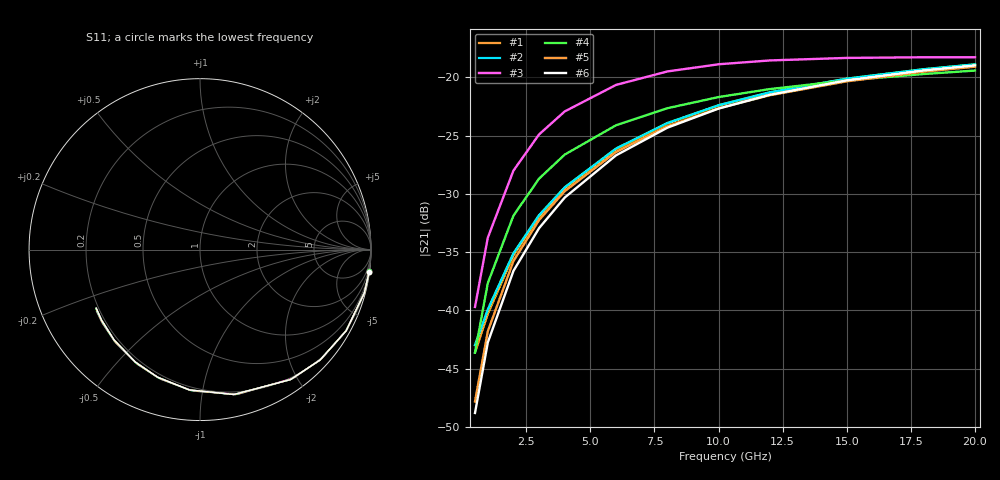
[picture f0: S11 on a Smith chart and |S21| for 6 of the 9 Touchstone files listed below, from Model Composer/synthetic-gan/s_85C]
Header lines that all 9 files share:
# Hz S RI R 50
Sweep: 500 MHz to 20 GHz
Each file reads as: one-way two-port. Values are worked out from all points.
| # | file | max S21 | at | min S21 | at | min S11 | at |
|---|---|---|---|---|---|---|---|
| 1 | Vgs-1.6_Vds10_Id0.004011.s2p | -18.90 dB | 20 GHz | -43.6 dB | 500 MHz | -3.1 dB | 20 GHz |
| 2 | Vgs-1.6_Vds15_Id0.004474.s2p | -18.89 dB | 20 GHz | -43.0 dB | 500 MHz | -3.1 dB | 20 GHz |
| 3 | Vgs-2_Vds0.5_Id0.000005.s2p | -18.27 dB | 18 GHz | -39.7 dB | 500 MHz | -3.0 dB | 20 GHz |
| 4 | Vgs-2_Vds1_Id0.000002.s2p | -19.42 dB | 20 GHz | -43.6 dB | 500 MHz | -3.1 dB | 20 GHz |
| 5 | Vgs-2_Vds2_Id0.000000.s2p | -19.09 dB | 20 GHz | -47.8 dB | 500 MHz | -3.1 dB | 20 GHz |
| 6 | Vgs-2_Vds4_Id0.000000.s2p | -18.97 dB | 20 GHz | -48.8 dB | 500 MHz | -3.1 dB | 20 GHz |
| 7 | Vgs-2_Vds7_Id0.000000.s2p | -18.97 dB | 20 GHz | -48.8 dB | 500 MHz | -3.1 dB | 20 GHz |
| 8 | Vgs-2_Vds10_Id0.000000.s2p | -18.97 dB | 20 GHz | -48.8 dB | 500 MHz | -3.1 dB | 20 GHz |
| 9 | Vgs-2_Vds15_Id0.000000.s2p | -18.97 dB | 20 GHz | -48.8 dB | 500 MHz | -3.1 dB | 20 GHz |
